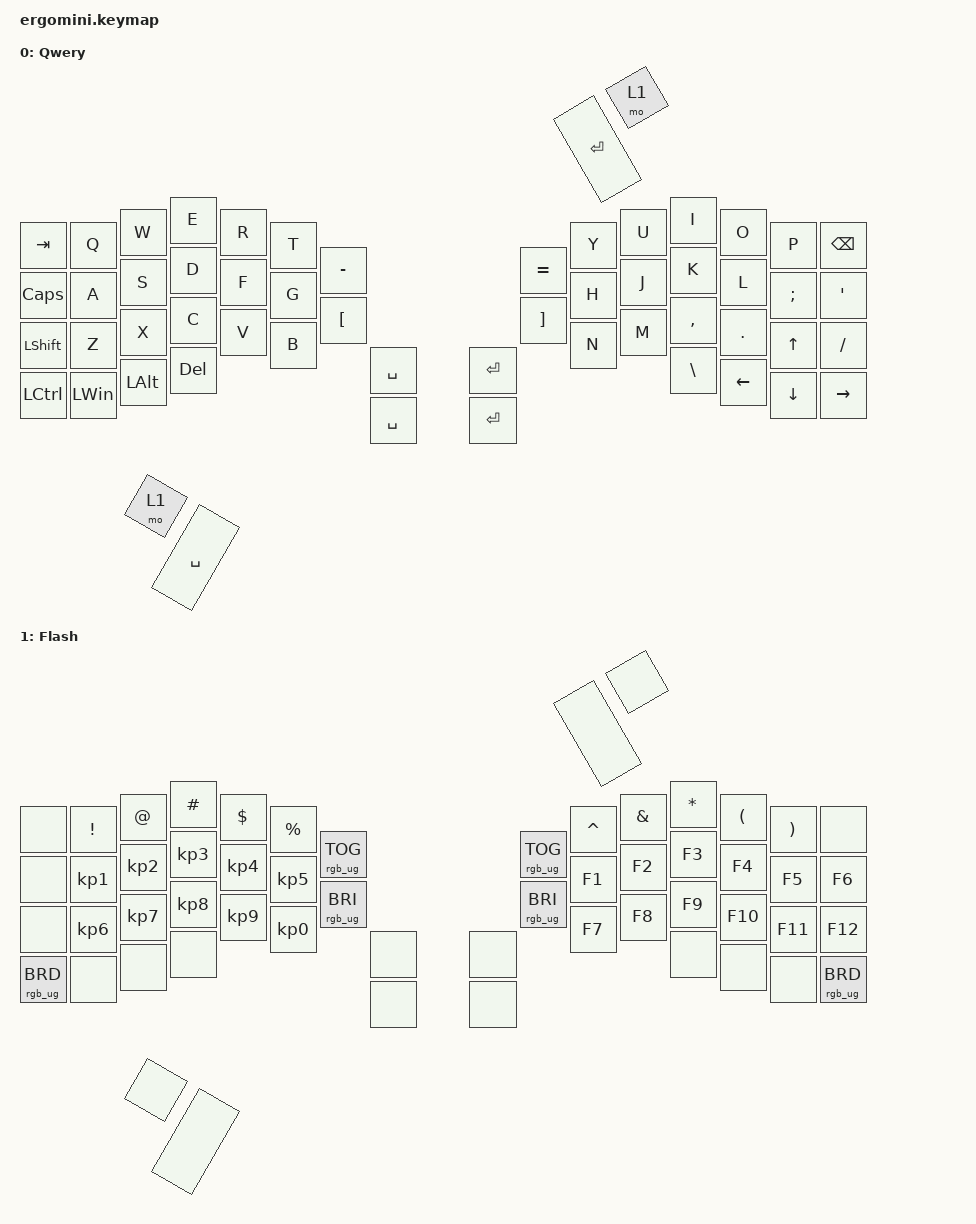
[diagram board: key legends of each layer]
#define ZMK_BEHAVIORS_OMIT_KT
#include <behaviors.dtsi>
#include <dt-bindings/zmk/ext_power.h>
#include <dt-bindings/zmk/keys.h>
#include <dt-bindings/zmk/rgb.h>
#include <dt-bindings/zmk/outputs.h>

/{
    behaviors {
        hm: homerow_mods {
            compatible = "zmk,behavior-hold-tap";
            label = "HOMEROW_MODS";
            bindings = <&kp>, <&kp>;

            #binding-cells = <2>;
            tapping-term-ms = <200>;
            quick-tap-ms = <180>;
            flavor = "tap-preferred";
        };

        ltq: ltq {
            compatible = "zmk,behavior-hold-tap";
            label = "LTQ";
            bindings = <&mo>, <&kp>;

            #binding-cells = <2>;
            tapping-term-ms = <200>;
            quick-tap-ms = <180>;
        };

        as: auto_shift {
            compatible = "zmk,behavior-hold-tap";
            label = "AUTO_SHIFT";
            bindings = <&kp>, <&kp>;

            #binding-cells = <2>;
            tapping-term-ms = <135>;
            quick-tap-ms = <0>;
        };
    };

    keymap {
        compatible = "zmk,keymap";

        Qwery {
            bindings = <
&kp TAB     &kp Q     &kp W     &kp E    &kp R  &kp T      &kp MINUS  &kp EQUAL  &kp Y      &kp U  &kp I      &kp O     &kp P     &kp BSPC
&kp CAPS    &kp A     &kp S     &kp D    &kp F  &kp G      &kp LBKT   &kp RBKT   &kp H      &kp J  &kp K      &kp L     &kp SEMI  &kp SQT
&kp LSHIFT  &kp Z     &kp X     &kp C    &kp V  &kp B      &kp SPACE  &kp ENTER  &kp N      &kp M  &kp COMMA  &kp DOT   &kp UP    &kp FSLH
&kp LCTRL   &kp LWIN  &kp LALT  &kp DEL  &mo 1  &kp SPACE  &kp SPACE  &kp ENTER  &kp ENTER  &mo 1  &kp BSLH   &kp LEFT  &kp DOWN  &kp RIGHT
            >;
            display-name = "Qwery";
        };

        Flash {
            bindings = <
&none            &kp EXCL   &kp AT     &kp HASH   &kp DOLLAR  &kp PERCENT  &rgb_ug RGB_TOG  &rgb_ug RGB_TOG  &kp CARET  &kp AMPS  &kp ASTRK  &kp LPAR  &kp RPAR  &none
&none            &kp KP_N1  &kp KP_N2  &kp KP_N3  &kp KP_N4   &kp KP_N5    &rgb_ug RGB_BRI  &rgb_ug RGB_BRI  &kp F1     &kp F2    &kp F3     &kp F4    &kp F5    &kp F6
&none            &kp KP_N6  &kp KP_N7  &kp KP_N8  &kp KP_N9   &kp KP_N0    &none            &none            &kp F7     &kp F8    &kp F9     &kp F10   &kp F11   &kp F12
&rgb_ug RGB_BRD  &none      &none      &none      &none       &none        &none            &none            &none      &none     &none      &none     &none     &rgb_ug RGB_BRD
            >;
            display-name = "Flash";
        };
    };
};
